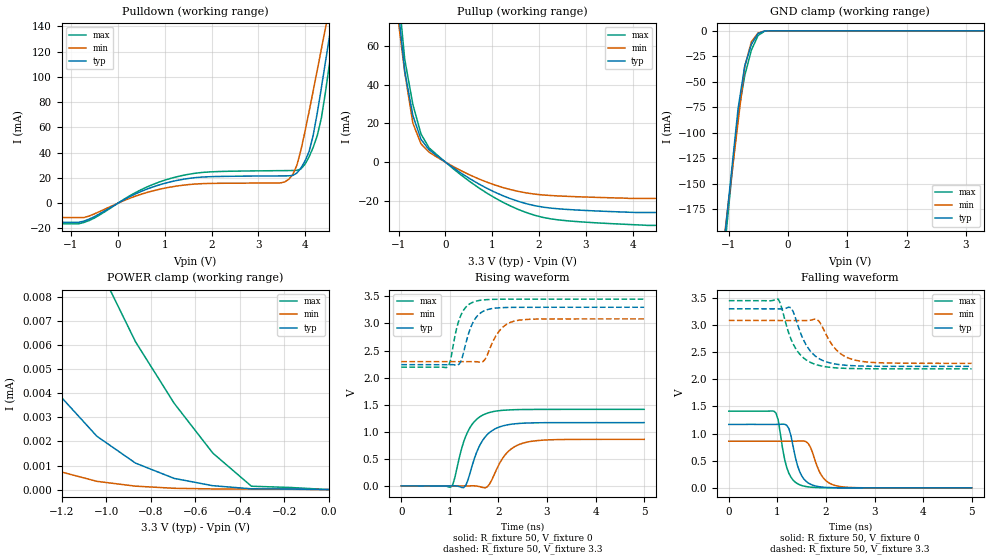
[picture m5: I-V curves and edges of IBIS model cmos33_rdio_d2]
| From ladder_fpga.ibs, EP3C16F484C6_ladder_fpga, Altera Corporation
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[Model] cmos33_rdio_d2
Model_type I/O
Polarity Non-Inverting
Enable Active-Low
Vinl  = 0.8V
Vinh  = 1.7V
Vmeas = 1.5425V
Rref  = 10M
Cref  = 0pF
Vref  = 0V
C_comp  5.0pF   5.0pF   5.0pF
[Temperature Range] 25   85   0
[Voltage Range]   3.3   3.085   3.45
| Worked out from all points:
|   slope of the pulldown table from 0 to 0.495 V, typ, clamps not added: 53.2 ohm
|   slope of the pullup table from 0 to 0.495 V, typ, clamps not added: 60.7 ohm
|   GND clamp passes 1 mA (typ) near -0.43 V on its own axis
|   rising waveform, R_fixture 50, V_fixture 0: 20-80 % time 344ps typ, 377ps min, 319ps max; typ from 0 V to 1.17 V
|   falling waveform, R_fixture 50, V_fixture 0: 20-80 % time 209ps typ, 249ps min, 193ps max; typ from 1.17 V to 0 V
|   rising waveform, R_fixture 50, V_fixture 3.3: 20-80 % time 242ps typ, 298ps min, 213ps max; typ from 2.24 V to 3.3 V
|   falling waveform, R_fixture 50, V_fixture 3.3: 20-80 % time 365ps typ, 386ps min, 356ps max; typ from 3.3 V to 2.24 V
[GND Clamp]
| voltage   I (typ)   I (min)   I (max)
-3.3V     -1.449A    -1.286A    -1.533A
-1.063V   -200.8mA   -197.7mA   -211mA
-950.8mV  -138.4mA   -143.3mA   -144.9mA
-839mV    -75.96mA   -88.9mA    -82.12mA
-727.1mV  -34.33mA   -34.92mA   -43.75mA
-615.2mV  -13.39mA   -10.72mA   -18.82mA
-503.4mV  -2.65mA    -2.136mA   -4.609mA
-391.5mV  -131.9uA   -144.2uA   -303.1uA
-279.7mV  -2.477uA   -5.258uA   -4.774uA
3.3V      0A         0A         0A
[Pulldown]
| voltage   I (typ)   I (min)   I (max)
-3.3V     -15.12mA   -11.37mA   -16.32mA
-839mV    -15.12mA   -11.37mA   -16.32mA
1.175V    17.34mA    13.09mA    20.13mA
3.561V    21.62mA    16.8mA     25.79mA
3.821V    23.89mA    30.18mA    26mA
4.082V    41.02mA    72.76mA    36.77mA
4.255V    71.52mA    105.4mA    53.49mA
4.429V    111.5mA    138.4mA    87.61mA
4.516V    132mA      154.9mA    110.5mA
4.603V    152.5mA    171.4mA    134mA
4.689V    172.9mA    187.8mA    157.7mA
6.6V      569.1mA    530.5mA    603.4mA
[POWER Clamp]
| voltage   I (typ)   I (min)   I (max)
-3.3V     255.8uA    174.6uA    337.7uA
-1.911V   28.08uA    11.14uA    68.9uA
-1.737V   17.97uA    6.876uA    39.23uA
-1.563V   11.64uA    3.732uA    28uA
-1.389V   6.958uA    1.745uA    19.82uA
-1.216V   3.98uA     766.9nA    13.7uA
-1.042V   2.218uA    344.4nA    9.42uA
-868.4mV  1.101uA    143.7nA    6.142uA
-694.7mV  465.5nA    54.34nA    3.587uA
-521.1mV  162.3nA    28.75nA    1.518uA
-347.4mV  32.72nA    21.8nA     140nA
0V        0A         0A         0A
[Pullup]
| voltage   I (typ)   I (min)   I (max)
-3.3V     652.6mA    540.6mA    745.9mA
-1.042V   86.97mA    80.08mA    97.06mA
-868.4mV  46.97mA    46.31mA    53.09mA
-694.7mV  24.06mA    20.14mA    29.77mA
-521.1mV  11.73mA    9.416mA    14.49mA
-347.4mV  6.385mA    5.129mA    7.345mA
347.4mV   -5.885mA   -4.58mA    -6.884mA
1.042V    -15.36mA   -11.7mA    -18.27mA
1.563V    -20.31mA   -15.15mA   -24.5mA
2.084V    -23.24mA   -16.95mA   -28.55mA
2.953V    -24.9mA    -17.98mA   -30.93mA
6.6V      -26.01mA   -18.73mA   -32.66mA
[Ramp]
dV/dt_r   7.014e-001/3.440e-010  5.159e-001/3.772e-010  8.484e-001/3.191e-010
dV/dt_f   6.366e-001/3.651e-010  4.740e-001/3.860e-010  7.536e-001/3.555e-010
R_load = 50ohms
[Rising Waveform]
R_fixture   = 50
V_fixture   = 0
V_fixture_min = 0
V_fixture_max = 0
| time   V (typ)   V (min)   V (max)
0s        0V         0V         0V
1.016ns   -216.4uV   -186.4uV   -24.68mV
1.104ns   1.746mV    -166.8uV   162mV
1.282ns   -33.51mV   -310uV     808.5mV
1.37ns    104.4mV    -261.4uV   1.006V
1.592ns   706.7mV    -9.257mV   1.26V
1.813ns   983.3mV    29.48mV    1.356V
2.123ns   1.116V     557mV      1.398V
2.522ns   1.159V     793.7mV    1.411V
5ns       1.169V     859.9mV    1.414V
[Falling Waveform]
R_fixture   = 50
V_fixture   = 0
V_fixture_min = 0
V_fixture_max = 0
| time   V (typ)   V (min)   V (max)
0s        1.169V     859.9mV    1.414V
971.5ps   1.169V     859.9mV    1.377V
1.016ns   1.17V      859.9mV    1.253V
1.193ns   1.152V     859.8mV    373mV
1.326ns   753.6mV    860.1mV    140.4mV
1.503ns   218.8mV    865.5mV    42.42mV
1.68ns    67.26mV    750.5mV    13.61mV
1.946ns   12.77mV    182.2mV    2.573mV
2.212ns   2.517mV    38.41mV    492.4uV
5ns       5.062uV    6.611uV    3.986uV
[Rising Waveform]
R_fixture   = 50
V_fixture   = 3.3
V_fixture_min = 3.085
V_fixture_max = 3.45
| time   V (typ)   V (min)   V (max)
0s        2.239V     2.295V     2.194V
971.5ps   2.238V     2.295V     2.215V
1.149ns   2.23V      2.295V     2.947V
1.237ns   2.321V     2.295V     3.175V
1.415ns   2.894V     2.295V     3.366V
1.548ns   3.122V     2.294V     3.415V
1.725ns   3.241V     2.337V     3.439V
2.079ns   3.293V     2.923V     3.448V
2.345ns   3.298V     3.048V     3.449V
5ns       3.3V       3.085V     3.45V
[Falling Waveform]
R_fixture   = 50
V_fixture   = 3.3
V_fixture_min = 3.085
V_fixture_max = 3.45
| time   V (typ)   V (min)   V (max)
0s        3.3V       3.085V     3.45V
1.016ns   3.299V     3.084V     3.478V
1.06ns    3.298V     3.084V     3.402V
1.282ns   3.317V     3.084V     2.738V
1.37ns    3.136V     3.084V     2.577V
1.592ns   2.633V     3.083V     2.359V
1.813ns   2.408V     3.105V     2.267V
2.212ns   2.28V      2.544V     2.211V
2.567ns   2.251V     2.362V     2.199V
5ns       2.239V     2.295V     2.194V
